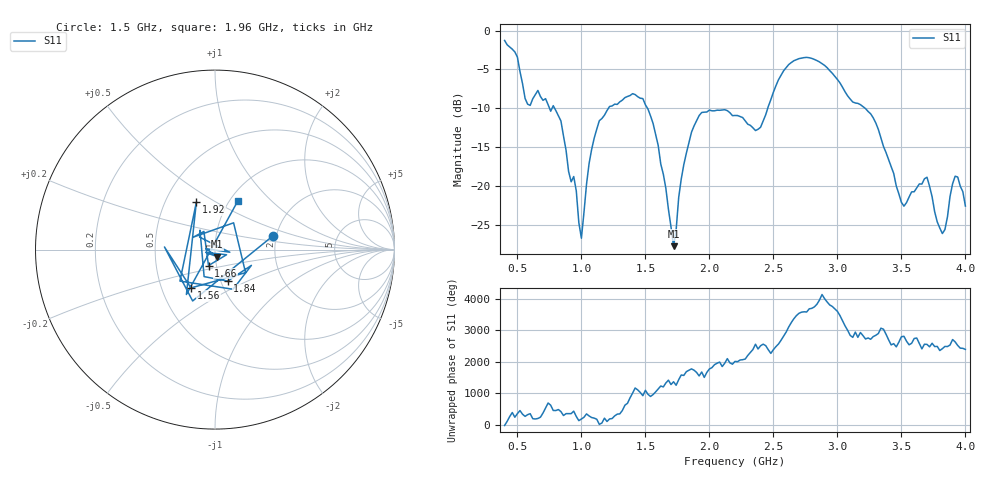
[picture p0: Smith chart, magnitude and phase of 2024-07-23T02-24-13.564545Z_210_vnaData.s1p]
!Created with skrf (http://scikit-rf.org).
# Hz S RI R 50.0
!freq ReS11 ImS11
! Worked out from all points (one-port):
!   181 points, 400 MHz to 4 GHz, reference 50 ohm
!   lowest |S11| = -27.8 dB at 1.72 GHz (marker M1), VSWR 1.09, Z = 51 - j4 ohm
!   |S11| at or under -10 dB: 790.3 MHz to 1.212 GHz (421.5 MHz wide, 42.1 % of centre); 1.516 GHz to 2.456 GHz (940.2 MHz wide, 47.3 % of centre); 3.215 GHz to end of sweep (the widest 3 of 4)
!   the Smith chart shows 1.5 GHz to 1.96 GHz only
!   S11 on the Smith chart (normalised r, x): 1.5 GHz: 1.92, +0.33; 1.56 GHz: 0.70, -0.32; 1.66 GHz: 0.92, -0.16; 1.84 GHz: 1.08, -0.39; 1.92 GHz: 0.71, +0.41; 1.96 GHz: 1.09, +0.65
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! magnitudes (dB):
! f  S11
! 400 MHz  -1.3
! 500 MHz  -3.4
! 580 MHz  -9.5
! 660 MHz  -7.7
! 860 MHz  -13.6
! 960 MHz  -20.7
! 1 GHz  -26.8
! 1.1 GHz  -13.9
! 1.3 GHz  -9.2
! 1.5 GHz  -9.6
! 1.56 GHz  -12.0
! 1.66 GHz  -20.4
! 1.72 GHz  -27.8
! 1.76 GHz  -21.5
! 1.84 GHz  -14.5
! 1.92 GHz  -10.9
! 1.96 GHz  -10.5
! 2.2 GHz  -10.9
! 2.4 GHz  -12.5
! 2.66 GHz  -3.9
! 3.1 GHz  -8.8
! 3.28 GHz  -11.2
! 3.5 GHz  -22.1
! 3.56 GHz  -21.5
! 3.7 GHz  -18.9
! 3.82 GHz  -26.2
! 3.92 GHz  -18.8
! 4 GHz  -22.6
